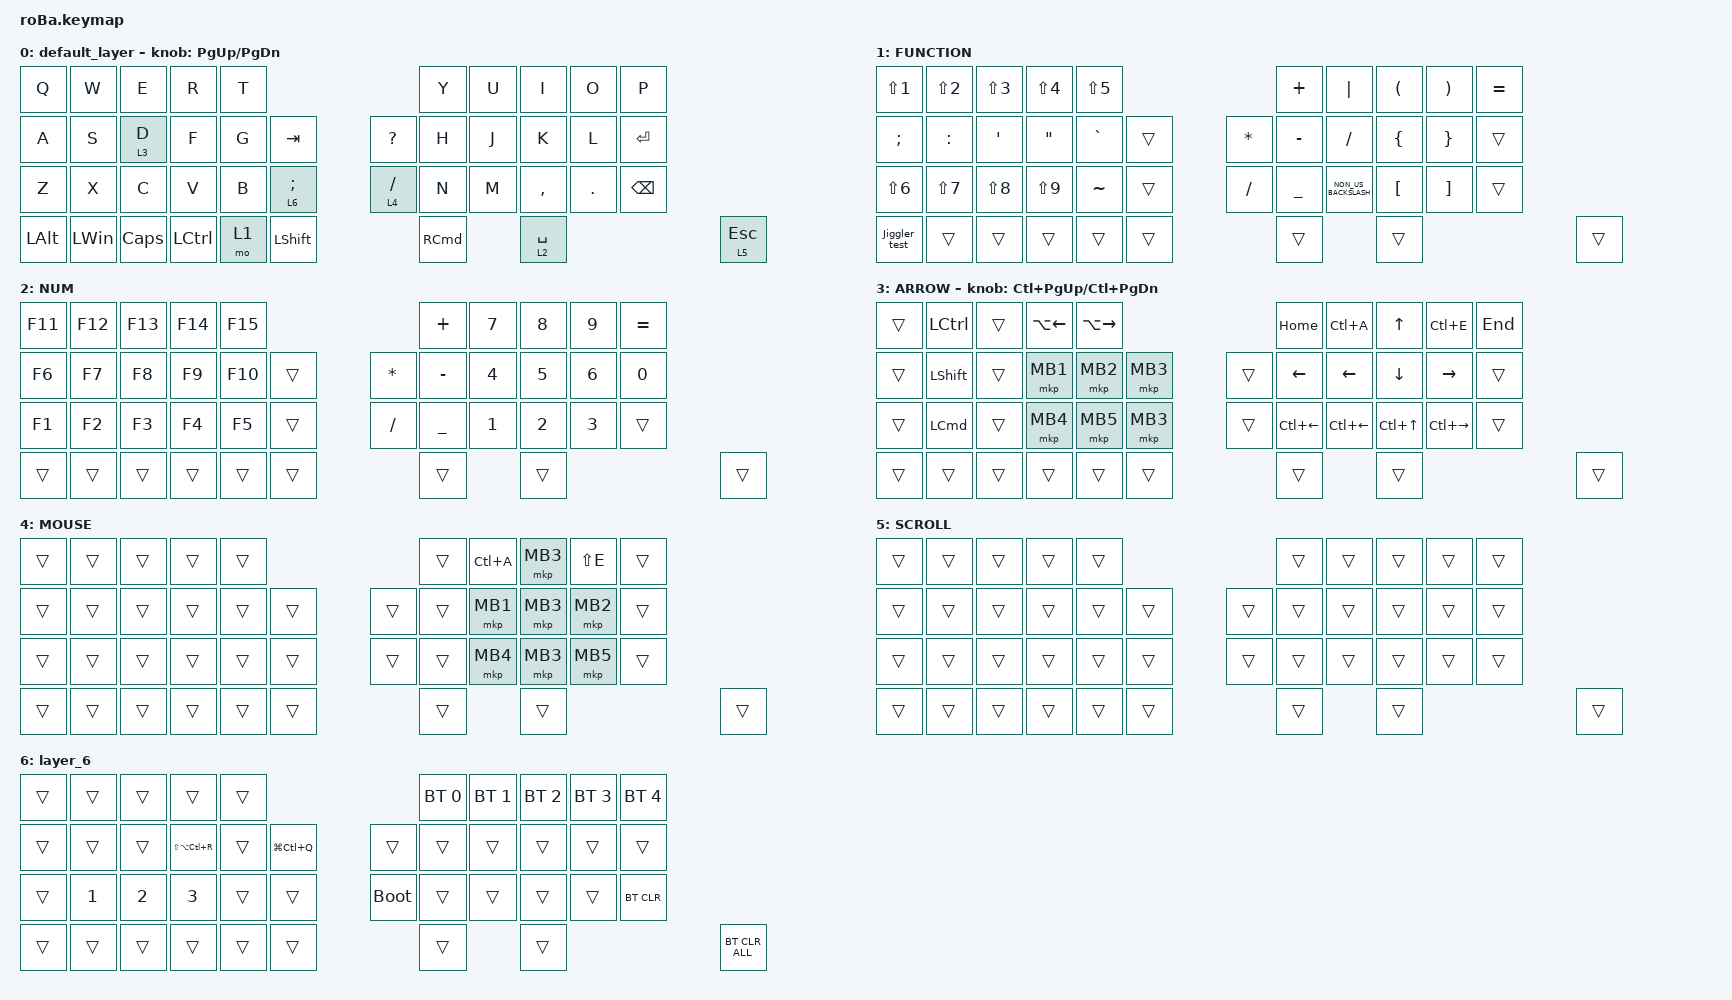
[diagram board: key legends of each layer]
#include <behaviors.dtsi>
#include <dt-bindings/zmk/bt.h>
#include <dt-bindings/zmk/keys.h>
#include <dt-bindings/zmk/pointing.h>

&mt {
    flavor = "balanced";
    quick-tap-ms = <0>;
};

/* マウス移動の速度設定 */
&mmv {
    time-to-max-speed-ms = <0>;
    acceleration-exponent = <0>;
};

&trackball {
    automouse-layer = <4>;
    scroll-layers = <5>;
};

/ {
    combos {
        compatible = "zmk,combos";
        tab { bindings = <&kp TAB>; key-positions = <11 12>; };
        shift_tab { bindings = <&kp LS(TAB)>; key-positions = <12 13>; };
        muhennkann { bindings = <&to_layer_0 INT_MUHENKAN>; key-positions = <11 10>; };
        double_quotation { bindings = <&kp DOUBLE_QUOTES>; key-positions = <20 21>; };
        eq { bindings = <&kp EQUAL>; key-positions = <24 25>; };
    };

    macros {
        to_layer_0: to_layer_0 {
            compatible = "zmk,behavior-macro-one-param";
            #binding-cells = <1>;
            bindings = <&to 0 &macro_param_1to1 &kp MACRO_PLACEHOLDER>;
        };

        /* 4分おきに左右100px移動（15回＝60分） */
        Jiggler_test: Jiggler_test {
            compatible = "zmk,behavior-macro";
            #binding-cells = <0>;
            wait-ms = <30>;
            tap-ms = <30>;
            bindings =
                <&macro_wait_time 4000>, <&mmv MOVE_X(-100)>,  // 0分後：右
                <&macro_wait_time 240000>, <&mmv MOVE_X(100)>,  // 4分後：右
                <&macro_wait_time 240000>, <&mmv MOVE_X(-100)>, // 8分後：左
                <&macro_wait_time 240000>, <&mmv MOVE_X(100)>,  // 12分後
                <&macro_wait_time 240000>, <&mmv MOVE_X(-100)>, // 16分後
                <&macro_wait_time 240000>, <&mmv MOVE_X(100)>,  // 20分後
                <&macro_wait_time 240000>, <&mmv MOVE_X(-100)>, // 24分後
                <&macro_wait_time 240000>, <&mmv MOVE_X(100)>,  // 28分後
                <&macro_wait_time 240000>, <&mmv MOVE_X(-100)>, // 32分後
                <&macro_wait_time 240000>, <&mmv MOVE_X(100)>,  // 36分後
                <&macro_wait_time 240000>, <&mmv MOVE_X(-100)>, // 40分後
                <&macro_wait_time 240000>, <&mmv MOVE_X(100)>,  // 44分後
                <&macro_wait_time 240000>, <&mmv MOVE_X(-100)>, // 48分後
                <&macro_wait_time 240000>, <&mmv MOVE_X(100)>,  // 52分後
                <&macro_wait_time 240000>, <&mmv MOVE_X(-100)>, // 56分後
                <&macro_wait_time 240000>, <&mmv MOVE_X(100)>;  // 60分後
        };
    };

    behaviors {
        lt_to_layer_0: lt_to_layer_0 {
            compatible = "zmk,behavior-hold-tap";
            bindings = <&mo>, <&to_layer_0>;
            #binding-cells = <2>;
            tapping-term-ms = <200>;
        };
    };

    keymap {
        compatible = "zmk,keymap";

        default_layer {
            bindings = <
&kp Q         &kp W         &kp E         &kp R      &kp T                                                         &kp Y        &kp U  &kp I      &kp O    &kp P
&kp A         &kp S         &lt 3 D       &kp F      &kp G  &kp TAB                          &kp QUESTION          &kp H        &kp J  &kp K      &kp L    &kp ENTER
&kp Z         &kp X         &kp C         &kp V      &kp B  &lt_to_layer_0 6 SEMICOLON       &lt_to_layer_0 4 SLASH  &kp N        &kp M  &kp COMMA  &kp DOT  &kp BACKSPACE
&kp LEFT_ALT  &kp LEFT_WIN  &kp CAPSLOCK  &kp LCTRL  &mo 1  &kp LEFT_SHIFT                                         &kp RIGHT_COMMAND        &lt 2 SPACE                              &lt 5 ESCAPE
            >;
            sensor-bindings = <&inc_dec_kp PG_UP PAGE_DOWN>;
        };

        FUNCTION {
            bindings = <
&kp LS(NUMBER_1)  &kp LS(NUMBER_2)  &kp LS(NUMBER_3)  &kp LS(NUMBER_4)   &kp LS(N5)                                   &kp PLUS        &kp PIPE              &kp LEFT_PARENTHESIS  &kp RIGHT_PARENTHESIS  &kp EQUAL
&kp SEMICOLON     &kp COLON         &kp SQT           &kp DOUBLE_QUOTES  &kp GRAVE   &trans       &kp ASTERISK  &kp MINUS       &kp SLASH              &kp LEFT_BRACE        &kp RIGHT_BRACE        &trans
&kp LS(NUMBER_6)  &kp LS(N7)        &kp LS(N8)        &kp LS(N9)         &kp TILDE   &trans       &kp SLASH     &kp UNDERSCORE  &kp NON_US_BACKSLASH  &kp LEFT_BRACKET      &kp RIGHT_BRACKET      &trans
&Jiggler_test     &trans            &trans            &trans             &trans      &trans       &trans        &trans                                                                              &trans
            >;
        };

        NUM {
            bindings = <
&kp F11  &kp F12  &kp F13  &kp F14  &kp F15                                    &kp PLUS        &kp N7        &kp N8        &kp N9        &kp EQUAL
&kp F6   &kp F7   &kp F8   &kp F9   &kp F10  &trans       &kp ASTERISK  &kp MINUS       &kp NUMBER_4  &kp N5        &kp NUMBER_6  &kp N0
&kp F1   &kp F2   &kp F3   &kp F4   &kp F5   &trans       &kp SLASH     &kp UNDERSCORE  &kp NUMBER_1  &kp NUMBER_2  &kp NUMBER_3  &trans
&trans   &trans   &trans   &trans   &trans   &trans       &trans        &trans                                                      &trans
            >;
        };

        ARROW {
            bindings = <
&trans  &kp LCTRL         &trans  &kp LA(LEFT)  &kp LA(RIGHT)                         &kp HOME      &kp LC(A)     &kp UP       &kp LC(E)       &kp END
&trans  &kp LEFT_SHIFT    &trans  &mkp MB1      &mkp MB2       &mkp MB3       &trans  &kp LEFT      &kp LEFT      &kp DOWN     &kp RIGHT       &trans
&trans  &kp LEFT_COMMAND  &trans  &mkp MB4      &mkp MB5       &mkp MB3       &trans  &kp LC(LEFT)  &kp LC(LEFT)  &kp LC(UP)   &kp LC(RIGHT)  &trans
&trans  &trans            &trans  &trans        &trans         &trans         &trans  &trans                                                     &trans
            >;
            sensor-bindings = <&inc_dec_kp LC(PAGE_UP) LC(PAGE_DOWN)>;
        };

        MOUSE {
            bindings = <
&trans  &trans  &trans  &trans  &trans                           &trans  &kp LC(A)  &mkp MB3  &kp LS(E)  &trans
&trans  &trans  &trans  &trans  &trans  &trans       &trans  &trans  &mkp MB1   &mkp MB3  &mkp MB2   &trans
&trans  &trans  &trans  &trans  &trans  &trans       &trans  &trans  &mkp MB4   &mkp MB3  &mkp MB5   &trans
&trans  &trans  &trans  &trans  &trans  &trans       &trans  &trans                                  &trans
            >;
        };

        SCROLL {
            bindings = <
&trans  &trans  &trans  &trans  &trans                           &trans  &trans  &trans  &trans  &trans
&trans  &trans  &trans  &trans  &trans  &trans       &trans  &trans  &trans  &trans  &trans  &trans
&trans  &trans  &trans  &trans  &trans  &trans       &trans  &trans  &trans  &trans  &trans  &trans
&trans  &trans  &trans  &trans  &trans  &trans       &trans  &trans                                  &trans
            >;
        };

        layer_6 {
            bindings = <
&trans  &trans        &trans        &trans             &trans                                  &bt BT_SEL 0  &bt BT_SEL 1  &bt BT_SEL 2  &bt BT_SEL 3  &bt BT_SEL 4
&trans  &trans        &trans        &kp LS(LA(LC(R)))  &trans  &kp LG(LC(Q))      &trans       &trans        &trans        &trans        &trans        &trans
&trans  &kp NUMBER_1  &kp NUMBER_2  &kp NUMBER_3       &trans  &trans             &bootloader  &trans        &trans        &trans        &trans        &bt BT_CLR
&trans  &trans        &trans        &trans             &trans  &trans             &trans       &trans                                                   &bt BT_CLR_ALL
            >;
        };
    };
};
